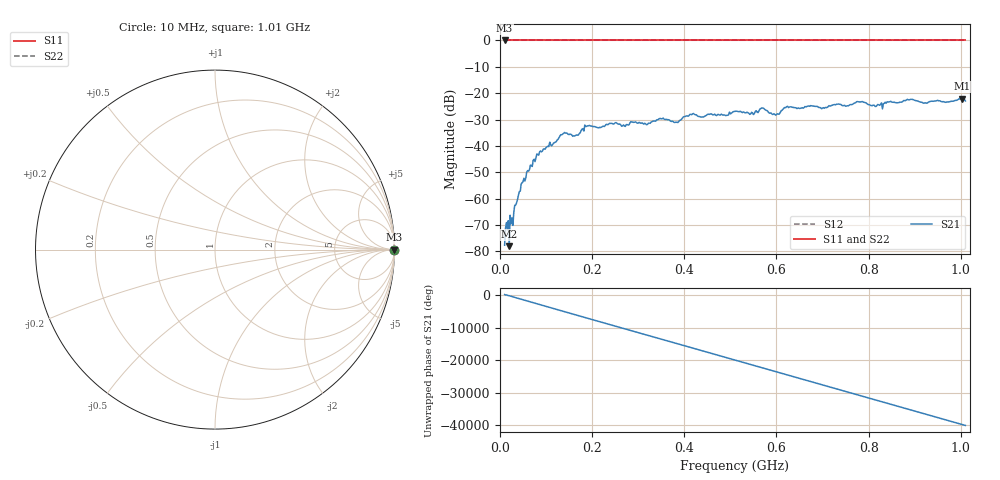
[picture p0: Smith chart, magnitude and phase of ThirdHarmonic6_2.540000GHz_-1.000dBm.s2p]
! 8/17/2025 5:07:32 AM
! C:\ANRITSUVNA\TEMP\TEMP.S2P
! CHANNEL.1
! TR.MEASUREMENT
! RAW.DATA
! RF.CORRECTION.OFF
! AVERAGING.OFF
! IF.BANDWIDTH: 5KHZ
! SWEEPTYPE:  FREQ.SWEEP(Linear)
! Reference Plane Port Info
! PORT:  PORT1  PORT2
! DISTANCE:  0  m  0  m
! TIME:  0  s  0  s
! PHASE.OFFSET:  0  deg.  0  deg.
! LOSS:  0  dB  0  dB
! REF.LOSS:  0  dB  0  dB
! REF.FREQ:  0  Hz  0  Hz
! Power Info
! POWER:  -20  dBm  -20  dBm
! EFF.POWER:  -20  dBm  -20  dBm
! SOURCE.ATTEN:  0  dB  0  dB
! TEST.ATTEN:  0  dB  0  dB
# GHZ S RI R 50.0
! FREQ.GHZ  S11RE  S11IM  S21RE  S21IM  S12RE  S12IM  S22RE  S22IM
!; PortSelection: Port_12
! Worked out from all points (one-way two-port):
!   501 points, 10 MHz to 1.01 GHz, reference 50 ohm
!   highest |S21| = -22.03 dB at 1.002 GHz (marker M1); lowest = -78.1 dB at 20 MHz (marker M2)
!   lowest |S11| = 0.0 dB at 10 MHz (marker M3)
!   |S11| at or under -10 dB: nowhere
!   |S22| runs from 0.0 to 0.0 dB; largest |S21 - S12| = 1.1
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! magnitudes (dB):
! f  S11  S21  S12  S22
! 10 MHz  0.0  -77.7  0.0  0.0
! 14 MHz  0.0  -69.1  0.0  0.0
! 20 MHz  0.0  -78.1  0.0  0.0
! 24 MHz  0.0  -69.6  0.0  0.0
! 48 MHz  0.0  -54.0  0.0  0.0
! 84 MHz  0.0  -43.5  0.0  0.0
! 136 MHz  0.0  -35.6  0.0  0.0
! 162 MHz  0.0  -36.3  0.0  0.0
! 178 MHz  0.0  -33.7  0.0  0.0
! 188 MHz  0.0  -32.6  0.0  0.0
! 344 MHz  0.0  -29.9  0.0  0.0
! 382 MHz  0.0  -31.0  0.0  0.0
! 416 MHz  0.0  -28.2  0.0  0.0
! 510 MHz  0.0  -26.9  0.0  0.0
! 546 MHz  0.0  -27.3  0.0  0.0
! 570 MHz  0.0  -25.7  0.0  0.0
! 602 MHz  0.0  -27.8  0.0  0.0
! 620 MHz  0.0  -25.5  0.0  0.0
! 678 MHz  0.0  -24.8  0.0  0.0
! 844 MHz  0.0  -23.3  0.0  0.0
! 1.002 GHz  0.0  -22.0  0.0  0.0
! 1.01 GHz  0.0  -23.0  0.0  0.0
